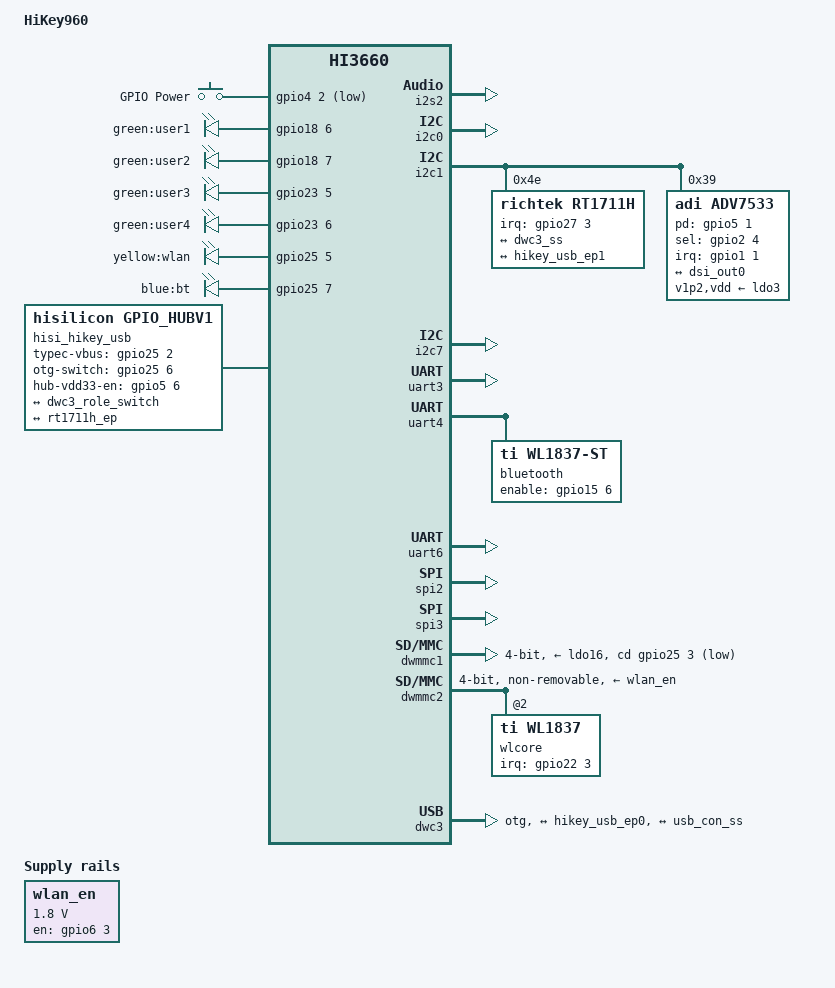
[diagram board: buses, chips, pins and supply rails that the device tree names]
// SPDX-License-Identifier: GPL-2.0
/*
 * dts file for Hisilicon HiKey960 Development Board
 *
 * Copyright (C) 2016, Hisilicon Ltd.
 *
 */

/dts-v1/;

#include "hi3660.dtsi"
#include "hikey960-pinctrl.dtsi"
#include "hi3660-drm.dtsi"
#include "hi3660-gpu.dtsi"

#include <dt-bindings/gpio/gpio.h>
#include <dt-bindings/input/input.h>
#include <dt-bindings/interrupt-controller/irq.h>
#include <dt-bindings/usb/pd.h>

/ {
	model = "HiKey960";
	compatible = "hisilicon,hi3660-hikey960", "hisilicon,hi3660";

	aliases {
		mshc1 = &dwmmc1;
		mshc2 = &dwmmc2;
		serial0 = &uart0;
		serial1 = &uart1;
		serial2 = &uart2;
		serial3 = &uart3;
		serial4 = &uart4;
		serial5 = &uart5;
		serial6 = &uart6;
	};

	chosen {
		stdout-path = "serial6:115200n8";
	};

	memory@0 {
		device_type = "memory";
		/* rewrite this at bootloader */
		reg = <0x0 0x0 0x0 0x0>;
	};

	reserved-memory {
		#address-cells = <2>;
		#size-cells = <2>;
		ranges;

		ramoops@32000000 {
			compatible = "ramoops";
			reg = <0x0 0x32000000 0x0 0x00100000>;
			record-size	= <0x00020000>;
			console-size	= <0x00020000>;
			ftrace-size	= <0x00020000>;
		};

		/* global autoconfigured region for contiguous allocations */
		linux,cma {
			compatible = "shared-dma-pool";
			reg = <0x0 0x20C00000 0x0 0x4000000>;
			reusable;
			linux,cma-default;
		};
	};

	reboot-mode-syscon@32100000 {
		compatible = "syscon", "simple-mfd";
		reg = <0x0 0x32100000 0x0 0x00001000>;

		reboot-mode {
			compatible = "syscon-reboot-mode";
			offset = <0x0>;

			mode-normal	= <0x77665501>;
			mode-bootloader	= <0x77665500>;
			mode-recovery	= <0x77665502>;
		};
	};

	keys {
		compatible = "gpio-keys";
		pinctrl-names = "default";
		pinctrl-0 = <&pwr_key_pmx_func &pwr_key_cfg_func>;

		power {
			wakeup-source;
			gpios = <&gpio4 2 GPIO_ACTIVE_LOW>;
			label = "GPIO Power";
			linux,code = <KEY_POWER>;
		};
	};

	leds {
		compatible = "gpio-leds";

		user_led1 {
			label = "green:user1";
			/* gpio_150_user_led1 */
			gpios = <&gpio18 6 0>;
			linux,default-trigger = "heartbeat";
		};

		user_led2 {
			label = "green:user2";
			/* gpio_151_user_led2 */
			gpios = <&gpio18 7 0>;
			linux,default-trigger = "none";
		};

		user_led3 {
			label = "green:user3";
			/* gpio_189_user_led3 */
			gpios = <&gpio23 5 0>;
			linux,default-trigger = "mmc0";
		};

		user_led4 {
			label = "green:user4";
			/* gpio_190_user_led4 */
			gpios = <&gpio23 6 0>;
			panic-indicator;
			linux,default-trigger = "none";
		};

		wlan_active_led {
			label = "yellow:wlan";
			/* gpio_205_wifi_active */
			gpios = <&gpio25 5 0>;
			linux,default-trigger = "phy0tx";
			default-state = "off";
		};

		bt_active_led {
			label = "blue:bt";
			gpios = <&gpio25 7 0>;
			/* gpio_207_user_led1 */
			linux,default-trigger = "hci0-power";
			default-state = "off";
		};
	};

	pmic: pmic@fff34000 {
		compatible = "hisilicon,hi6421v530-pmic";
		reg = <0x0 0xfff34000 0x0 0x1000>;
		interrupt-controller;
		#interrupt-cells = <2>;

		regulators {
			ldo3: LDO3 { /* HDMI */
				regulator-name = "VOUT3_1V85";
				regulator-min-microvolt = <1800000>;
				regulator-max-microvolt = <2200000>;
				regulator-enable-ramp-delay = <120>;
			};

			ldo9: LDO9 { /* SDCARD I/O */
				regulator-name = "VOUT9_1V8_2V95";
				regulator-min-microvolt = <1750000>;
				regulator-max-microvolt = <3300000>;
				regulator-enable-ramp-delay = <240>;
			};

			ldo11: LDO11 { /* Low Speed Connector */
				regulator-name = "VOUT11_1V8_2V95";
				regulator-min-microvolt = <1750000>;
				regulator-max-microvolt = <3300000>;
				regulator-enable-ramp-delay = <240>;
			};

			ldo15: LDO15 { /* UFS VCC */
				regulator-name = "VOUT15_3V0";
				regulator-min-microvolt = <1750000>;
				regulator-max-microvolt = <3000000>;
				regulator-boot-on;
				regulator-always-on;
				regulator-enable-ramp-delay = <120>;
			};

			ldo16: LDO16 { /* SD VDD */
				regulator-name = "VOUT16_2V95";
				regulator-min-microvolt = <1750000>;
				regulator-max-microvolt = <3000000>;
				regulator-enable-ramp-delay = <360>;
			};
		};
	};

	wlan_en: wlan-en-1-8v {
		compatible = "regulator-fixed";
		regulator-name = "wlan-en-regulator";
		regulator-min-microvolt = <1800000>;
		regulator-max-microvolt = <1800000>;

		/* GPIO_051_WIFI_EN */
		gpio = <&gpio6 3 0>;

		/* WLAN card specific delay */
		startup-delay-us = <70000>;
		enable-active-high;
	};

	firmware {
		optee {
			compatible = "linaro,optee-tz";
			method = "smc";
		};
	};

	hisi_hikey_usb: hisi_hikey_usb {
		compatible = "hisilicon,gpio_hubv1";
		typec-vbus-gpios = <&gpio25 2 GPIO_ACTIVE_HIGH>;
		otg-switch-gpios = <&gpio25 6 GPIO_ACTIVE_HIGH>;
		hub-vdd33-en-gpios = <&gpio5 6 GPIO_ACTIVE_HIGH>;
		usb-role-switch;

		port {
			#address-cells = <1>;
			#size-cells = <0>;

			hikey_usb_ep0: endpoint@0 {
				reg = <0>;
				remote-endpoint = <&dwc3_role_switch>;
			};
			hikey_usb_ep1: endpoint@1 {
				reg = <1>;
				remote-endpoint = <&rt1711h_ep>;
			};
		};
	};

	i2s2: hi3660_i2s {
		compatible = "hisilicon,hi3660-i2s-1.0";
		reg = <0x0 0xe804f800 0x0 0x400>,
			<0x0 0xe804e000 0x0 0x400>;
		pinctrl-names = "default";
		pinctrl-0 = <&i2s2_pmx_func &i2s2_cfg_func>;
		dmas = <&asp_dmac 18 &asp_dmac 19>;
		dma-names = "rx", "tx";
		#sound-dai-cells = <0>;
	};

	sound {
		compatible = "simple-audio-card";
		simple-audio-card,name = "hikey-hdmi";
		simple-audio-card,format = "i2s";

		simple-audio-card,bitclock-master = <&sound_master>;
		simple-audio-card,frame-master = <&sound_master>;

		sound_master: simple-audio-card,cpu {
			sound-dai = <&i2s2>;
		};

		simple-audio-card,codec {
			sound-dai = <&adv7533>;
		};
	};
};

/*
 * Legend: proper name = the GPIO line is used as GPIO
 *         NC = not connected (pin out but not routed from the chip to
 *              anything the board)
 *         "[PER]" = pin is muxed for [peripheral] (not GPIO)
 *         "" = no idea, schematic doesn't say, could be
 *              unrouted (not connected to any external pin)
 *         LSEC = Low Speed External Connector
 *         HSEC = High Speed External Connector
 *
 * Line names are taken from "HiKey 960 Board ver A" schematics
 * from Huawei. The 40 pin low speed expansion connector is named
 * J2002 63453-140LF.
 *
 * For the lines routed to the external connectors the
 * lines are named after the 96Boards CE Specification 1.0,
 * Appendix "Expansion Connector Signal Description".
 *
 * When the 96Board naming of a line and the schematic name of
 * the same line are in conflict, the 96Board specification
 * takes precedence, which means that the external UART on the
 * LSEC is named UART0 while the schematic and SoC names this
 * UART3. This is only for the informational lines i.e. "[FOO]",
 * the GPIO named lines "GPIO-A" thru "GPIO-L" are the only
 * ones actually used for GPIO.
 */
&gpio0 {
	/* GPIO_000-GPIO_007 */
	gpio-line-names =
		"",
		"TP901", /* TEST_MODE connected to TP901 */
		"[PMU0_SSI]",
		"[PMU1_SSI]",
		"[PMU2_SSI]",
		"[PMU0_CLKOUT]",
		"[JTAG_TCK]",
		"[JTAG_TMS]";
};

&gpio1 {
	/* GPIO_008-GPIO_015 */
	gpio-line-names =
		"[JTAG_TRST_N]",
		"[JTAG_TDI]",
		"[JTAG_TDO]",
		"NC", "NC",
		"[I2C3_SCL]",
		"[I2C3_SDA]",
		"NC";
};

&gpio2 {
	/* GPIO_016-GPIO_023 */
	gpio-line-names =
		"NC", "NC", "NC",
		"GPIO-J", /* LSEC pin 32: GPIO_019 */
		"GPIO_020_HDMI_SEL",
		"GPIO-L", /* LSEC pin 34: GPIO_021 */
		"GPIO_022_UFSBUCK_INT_N",
		"GPIO-G"; /* LSEC pin 29: LCD_TE0 */
};

&gpio3 {
	/* GPIO_024-GPIO_031 */
	/* The rail from pin BK36 is named LCD_TE0, we assume to be muxed as GPIO for GPIO-G */
	gpio-line-names =
		"[CSI0_MCLK]", /* HSEC pin 15: ISP_CCLK0_MCAM */
		"[CSI1_MCLK]", /* HSEC pin 17: ISP_CCLK1_SCAM */
		"NC",
		"[I2C2_SCL]", /* HSEC pin 32: ISP_SCL0 */
		"[I2C2_SDA]", /* HSEC pin 34: ISP_SDA0 */
		"[I2C3_SCL]", /* HSEC pin 36: ISP_SCL1 */
		"[I2C3_SDA]", /* HSEC pin 38: ISP_SDA1 */
		"NC";
};

&gpio4 {
	/* GPIO_032-GPIO_039 */
	gpio-line-names =
		"NC", "NC",
		"PWR_BTN_N", /* LSEC pin 4: GPIO_034_PWRON_DET */
		"GPIO_035_PMU2_EN",
		"GPIO_036_USB_HUB_RESET",
		"NC", "NC", "NC";
};

&gpio5 {
	/* GPIO_040-GPIO_047 */
	gpio-line-names =
		"GPIO-H", /* LSEC pin 30: GPIO_040_LCD_RST_N */
		"GPIO_041_HDMI_PD",
		"TP904", /* Test point */
		"TP905", /* Test point */
		"NC", "NC",
		"GPIO_046_HUB_VDD33_EN",
		"GPIO_047_PMU1_EN";
};

&gpio6 {
	/* GPIO_048-GPIO_055 */
	gpio-line-names =
		"NC", "NC", "NC",
		"GPIO_051_WIFI_EN",
		"GPIO-I", /* LSEC pin 31: GPIO_052_CAM0_RST_N */
		/*
		 * These two pins should be used for SD(IO) data according to the
		 * 96boards specification but seems to be repurposed for a IRDA UART.
		 * They are however named according to the spec.
		 */
		"[SD_DAT1]", /* HSEC pin 3: UART0_IRDA_RXD */
		"[SD_DAT2]", /* HSEC pin 5: UART0_IRDA_TXD */
		"[UART1_RXD]"; /* LSEC pin 13: DEBUG_UART6_RXD */
};

&gpio7 {
	/* GPIO_056-GPIO_063 */
	gpio-line-names =
		"[UART1_TXD]", /* LSEC pin 11: DEBUG_UART6_TXD */
		"[UART0_CTS]", /* LSEC pin 3: UART3_CTS_N */
		"[UART0_RTS]", /* LSEC pin 9: UART3_RTS_N */
		"[UART0_RXD]", /* LSEC pin 7: UART3_RXD */
		"[UART0_TXD]", /* LSEC pin 5: UART3_TXD */
		"[SOC_BT_UART4_CTS_N]",
		"[SOC_BT_UART4_RTS_N]",
		"[SOC_BT_UART4_RXD]";
};

&gpio8 {
	/* GPIO_064-GPIO_071 */
	gpio-line-names =
		"[SOC_BT_UART4_TXD]",
		"NC",
		"[PMU_HKADC_SSI]",
		"NC",
		"GPIO_068_SEL",
		"NC", "NC", "NC";

};

&gpio9 {
	/* GPIO_072-GPIO_079 */
	gpio-line-names =
		"NC", "NC", "NC",
		"GPIO-K", /* LSEC pin 33: GPIO_075_CAM1_RST_N */
		"NC", "NC", "NC", "NC";
};

&gpio10 {
	/* GPIO_080-GPIO_087 */
	gpio-line-names = "NC", "NC", "NC", "NC", "NC", "NC", "NC", "NC";
};

&gpio11 {
	/* GPIO_088-GPIO_095 */
	gpio-line-names =
		"NC",
		"[PCIE_PERST_N]",
		"NC", "NC", "NC", "NC", "NC", "NC";
};

&gpio12 {
	/* GPIO_096-GPIO_103 */
	gpio-line-names = "NC", "NC", "NC", "", "", "", "", "NC";
};

&gpio13 {
	/* GPIO_104-GPIO_111 */
	gpio-line-names = "NC", "NC", "NC", "NC", "NC", "NC", "NC", "NC";
};

&gpio14 {
	/* GPIO_112-GPIO_119 */
	gpio-line-names = "NC", "NC", "NC", "NC", "NC", "NC", "NC", "NC";
};

&gpio15 {
	/* GPIO_120-GPIO_127 */
	gpio-line-names =
		"NC", "NC", "NC", "NC", "NC", "NC",
		"GPIO_126_BT_EN",
		"TP902"; /* GPIO_127_JTAG_SEL0 */
};

&gpio16 {
	/* GPIO_128-GPIO_135 */
	gpio-line-names = "", "", "", "", "", "", "", "";
};

&gpio17 {
	/* GPIO_136-GPIO_143 */
	gpio-line-names = "", "", "", "", "", "", "", "";
};

&gpio18 {
	/* GPIO_144-GPIO_151 */
	gpio-line-names =
		"[UFS_REF_CLK]",
		"[UFS_RST_N]",
		"[SPI1_SCLK]", /* HSEC pin 9: GPIO_146_SPI3_CLK */
		"[SPI1_DIN]", /* HSEC pin 11: GPIO_147_SPI3_DI */
		"[SPI1_DOUT]", /* HSEC pin 1: GPIO_148_SPI3_DO */
		"[SPI1_CS]", /* HSEC pin 7: GPIO_149_SPI3_CS0_N */
		"GPIO_150_USER_LED1",
		"GPIO_151_USER_LED2";
};

&gpio19 {
	/* GPIO_152-GPIO_159 */
	gpio-line-names = "NC", "NC", "NC", "NC", "", "", "", "";
};

&gpio20 {
	/* GPIO_160-GPIO_167 */
	gpio-line-names =
		"[SD_CLK]",
		"[SD_CMD]",
		"[SD_DATA0]",
		"[SD_DATA1]",
		"[SD_DATA2]",
		"[SD_DATA3]",
		"", "";
};

&gpio21 {
	/* GPIO_168-GPIO_175 */
	gpio-line-names =
		"[WL_SDIO_CLK]",
		"[WL_SDIO_CMD]",
		"[WL_SDIO_DATA0]",
		"[WL_SDIO_DATA1]",
		"[WL_SDIO_DATA2]",
		"[WL_SDIO_DATA3]",
		"", "";
};

&gpio22 {
	/* GPIO_176-GPIO_183 */
	gpio-line-names =
		"[GPIO_176_PMU_PWR_HOLD]",
		"NA",
		"[SYSCLK_EN]",
		"GPIO_179_WL_WAKEUP_AP",
		"GPIO_180_HDMI_INT",
		"NA",
		"GPIO-F", /* LSEC pin 28: LCD_BL_PWM */
		"[I2C0_SCL]"; /* LSEC pin 15 */
};

&gpio23 {
	/* GPIO_184-GPIO_191 */
	gpio-line-names =
		"[I2C0_SDA]", /* LSEC pin 17 */
		"[I2C1_SCL]", /* Actual SoC I2C1 */
		"[I2C1_SDA]", /* Actual SoC I2C1 */
		"[I2C1_SCL]", /* LSEC pin 19: I2C7_SCL */
		"[I2C1_SDA]", /* LSEC pin 21: I2C7_SDA */
		"GPIO_189_USER_LED3",
		"GPIO_190_USER_LED4",
		"";
};

&gpio24 {
	/* GPIO_192-GPIO_199 */
	gpio-line-names =
		"[PCM_DI]", /* LSEC pin 22: GPIO_192_I2S0_DI */
		"[PCM_DO]", /* LSEC pin 20: GPIO_193_I2S0_DO */
		"[PCM_CLK]", /* LSEC pin 18: GPIO_194_I2S0_XCLK */
		"[PCM_FS]", /* LSEC pin 16: GPIO_195_I2S0_XFS */
		"[GPIO_196_I2S2_DI]",
		"[GPIO_197_I2S2_DO]",
		"[GPIO_198_I2S2_XCLK]",
		"[GPIO_199_I2S2_XFS]";
};

&gpio25 {
	/* GPIO_200-GPIO_207 */
	gpio-line-names =
		"NC",
		"NC",
		"GPIO_202_VBUS_TYPEC",
		"GPIO_203_SD_DET",
		"GPIO_204_PMU12_IRQ_N",
		"GPIO_205_WIFI_ACTIVE",
		"GPIO_206_USBSW_SEL",
		"GPIO_207_BT_ACTIVE";
};

&gpio26 {
	/* GPIO_208-GPIO_215 */
	gpio-line-names =
		"GPIO-A", /* LSEC pin 23: GPIO_208 */
		"GPIO-B", /* LSEC pin 24: GPIO_209 */
		"GPIO-C", /* LSEC pin 25: GPIO_210 */
		"GPIO-D", /* LSEC pin 26: GPIO_211 */
		"GPIO-E", /* LSEC pin 27: GPIO_212 */
		"[PCIE_CLKREQ_N]",
		"[PCIE_WAKE_N]",
		"[SPI0_CLK]"; /* LSEC pin 8: SPI2_CLK */
};

&gpio27 {
	/* GPIO_216-GPIO_223 */
	gpio-line-names =
		"[SPI0_DIN]", /* LSEC pin 10: SPI2_DI */
		"[SPI0_DOUT]", /* LSEC pin 14: SPI2_DO */
		"[SPI0_CS]", /* LSEC pin 12: SPI2_CS0_N */
		"GPIO_219_CC_INT",
		"NC",
		"NC",
		"[PMU_INT]",
		"";
};

&gpio28 {
	/* GPIO_224-GPIO_231 */
	gpio-line-names =
		"", "", "", "", "", "", "", "";
};

&i2c0 {
	/* On Low speed expansion */
	label = "LS-I2C0";
	status = "okay";
};

&i2c1 {
	status = "okay";

	rt1711h: rt1711h@4e {
		compatible = "richtek,rt1711h";
		reg = <0x4e>;
		status = "okay";
		interrupt-parent = <&gpio27>;
		interrupts = <3 IRQ_TYPE_LEVEL_LOW>;
		pinctrl-names = "default";
		pinctrl-0 = <&usb_cfg_func>;

		usb_con: connector {
			compatible = "usb-c-connector";
			label = "USB-C";
			data-role = "dual";
			power-role = "dual";
			try-power-role = "sink";
			source-pdos = <PDO_FIXED(5000, 500, PDO_FIXED_USB_COMM)>;
			sink-pdos = <PDO_FIXED(5000, 500, PDO_FIXED_USB_COMM)
				PDO_VAR(5000, 5000, 1000)>;
			op-sink-microwatt = <10000000>;

			ports {
				#address-cells = <1>;
				#size-cells = <0>;
				port@1 {
					reg = <1>;
					usb_con_ss: endpoint {
						remote-endpoint = <&dwc3_ss>;
					};
				};
			};
		};
		port {
			#address-cells = <1>;
			#size-cells = <0>;

			rt1711h_ep: endpoint@0 {
				reg = <0>;
				remote-endpoint = <&hikey_usb_ep1>;
			};
		};
	};

	adv7533: adv7533@39 {
		status = "okay";
		compatible = "adi,adv7533";
		reg = <0x39>;
		v1p2-supply = <&ldo3>;
		vdd-supply = <&ldo3>;
		interrupt-parent = <&gpio1>;
		interrupts = <1 2>;
		pd-gpio = <&gpio5 1 0>;
		sel-gpio = <&gpio2 4 0>;
		adi,dsi-lanes = <4>;
		adi,disable-timing-generator;
		#sound-dai-cells = <0>;

		ports {
			#address-cells = <1>;
			#size-cells = <0>;
			port@0 {
				reg = <0>;
				adv7533_in: endpoint {
					remote-endpoint = <&dsi_out0>;
				};
			};
			port@1 {
				reg = <1>;
			};
		};
	};

};

&i2c7 {
	/* On Low speed expansion */
	label = "LS-I2C1";
	status = "okay";
};

&uart3 {
	/* On Low speed expansion */
	label = "LS-UART0";
	status = "okay";
};

&uart4 {
	status = "okay";

	bluetooth {
		compatible = "ti,wl1837-st";
		enable-gpios = <&gpio15 6 GPIO_ACTIVE_HIGH>;
		max-speed = <3000000>;
	};
};

&uart6 {
	/* On Low speed expansion */
	label = "LS-UART1";
	status = "okay";
};

&spi2 {
	/* On Low speed expansion */
	label = "LS-SPI0";
	status = "okay";
};

&spi3 {
	/* On High speed expansion */
	label = "HS-SPI1";
	status = "okay";
};

&dwmmc1 {
	bus-width = <0x4>;
	cap-sd-highspeed;
	sd-uhs-sdr12;
	sd-uhs-sdr25;
	sd-uhs-sdr50;
	sd-uhs-sdr104;
	disable-wp;
	cd-gpios = <&gpio25 3 GPIO_ACTIVE_LOW>;
	pinctrl-names = "default";
	pinctrl-0 = <&sd_pmx_func
		     &sd_clk_cfg_func
		     &sd_cfg_func>;
	vmmc-supply = <&ldo16>;
	vqmmc-supply = <&ldo9>;
	status = "okay";
};

&dwmmc2 { /* WIFI */
	bus-width = <0x4>;
	non-removable;
	broken-cd;
	cap-power-off-card;
	pinctrl-names = "default";
	pinctrl-0 = <&sdio_pmx_func
		     &sdio_clk_cfg_func
		     &sdio_cfg_func>;
	/* WL_EN */
	vmmc-supply = <&wlan_en>;
	status = "okay";

	wlcore: wlcore@2 {
		compatible = "ti,wl1837";
		reg = <2>;      /* sdio func num */
		/* WL_IRQ, GPIO_179_WL_WAKEUP_AP */
		interrupt-parent = <&gpio22>;
		interrupts = <3 IRQ_TYPE_EDGE_RISING>;
	};
};

&dwc3 { /* USB */
	dr_mode = "otg";
	maximum-speed = "super-speed";
	phy_type = "utmi";
	snps,dis-del-phy-power-chg-quirk;
	snps,lfps_filter_quirk;
	snps,dis_u2_susphy_quirk;
	snps,dis_u3_susphy_quirk;
	snps,tx_de_emphasis_quirk;
	snps,tx_de_emphasis = <1>;
	snps,dis_enblslpm_quirk;
	snps,gctl-reset-quirk;
	usb-role-switch;
	role-switch-default-mode = "host";
	port {
		#address-cells = <1>;
		#size-cells = <0>;
		dwc3_role_switch: endpoint@0 {
			reg = <0>;
			remote-endpoint = <&hikey_usb_ep0>;
		};

		dwc3_ss: endpoint@1 {
			reg = <1>;
			remote-endpoint = <&usb_con_ss>;
		};
	};
};
